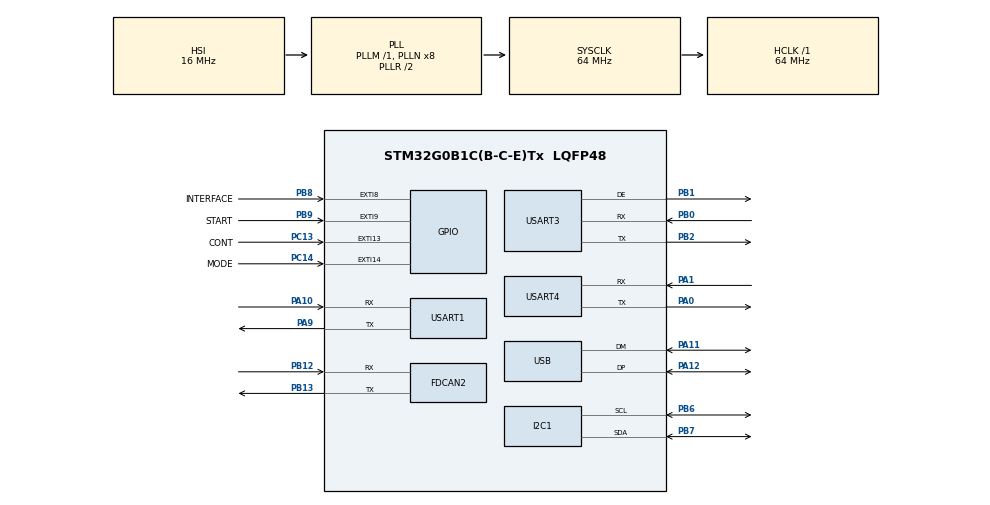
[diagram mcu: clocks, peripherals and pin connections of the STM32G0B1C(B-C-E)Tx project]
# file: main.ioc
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FDCAN2.CalculateBaudRateNominal=1333333
FDCAN2.CalculateTimeBitNominal=750
FDCAN2.CalculateTimeQuantumNominal=250.0
I2C1.Timing=0x10B17DB5
Mcu.Family=STM32G0
Mcu.Name=STM32G0B1C(B-C-E)Tx
Mcu.Package=LQFP48
NVIC.EXTI4_15_IRQn=true\:0\:0\:false\:false\:true\:true\:true\:true
NVIC.TIM16_FDCAN_IT0_IRQn=true\:0\:0\:false\:false\:true\:true\:true\:true
NVIC.TIM17_FDCAN_IT1_IRQn=true\:0\:0\:false\:false\:true\:true\:true\:true
NVIC.USART1_IRQn=true\:0\:0\:false\:false\:true\:true\:true\:true
NVIC.USART3_4_5_6_LPUART1_IRQn=true\:0\:0\:false\:false\:true\:true\:true\:true
PA0.Mode=Asynchronous
PA0.Signal=USART4_TX
PA1.Mode=Asynchronous
PA1.Signal=USART4_RX
PA10.Mode=Asynchronous
PA10.Signal=USART1_RX
PA11\ [PA9].Mode=Device
PA11\ [PA9].Signal=USB_DM
PA12\ [PA10].Mode=Device
PA12\ [PA10].Signal=USB_DP
PA9.Mode=Asynchronous
PA9.Signal=USART1_TX
PB0.Mode=Asynchronous
PB0.Signal=USART3_RX
PB1.Mode=Hardware Flow Control (RS485)
PB1.Signal=USART3_DE
PB12.Mode=FDCAN_Activate
PB12.Signal=FDCAN2_RX
PB13.Mode=FDCAN_Activate
PB13.Signal=FDCAN2_TX
PB2.Mode=Asynchronous
PB2.Signal=USART3_TX
PB6.Mode=I2C
PB6.Signal=I2C1_SCL
PB7.Mode=I2C
PB7.Signal=I2C1_SDA
PB8.GPIO_Label=INTERFACE
PB8.GPIO_ModeDefaultEXTI=GPIO_MODE_IT_RISING_FALLING
PB8.GPIO_PuPd=GPIO_PULLUP
PB8.Signal=GPXTI8
PB9.GPIO_Label=START
PB9.GPIO_ModeDefaultEXTI=GPIO_MODE_IT_RISING_FALLING
PB9.GPIO_PuPd=GPIO_PULLUP
PB9.Signal=GPXTI9
PC13.GPIO_Label=CONT
PC13.GPIO_ModeDefaultEXTI=GPIO_MODE_IT_RISING_FALLING
PC13.GPIO_PuPd=GPIO_PULLUP
PC13.Signal=GPXTI13
PC14-OSC32_IN\ (PC14).GPIO_Label=MODE
PC14-OSC32_IN\ (PC14).GPIO_ModeDefaultEXTI=GPIO_MODE_IT_RISING_FALLING
PC14-OSC32_IN\ (PC14).GPIO_PuPd=GPIO_PULLUP
PC14-OSC32_IN\ (PC14).Signal=GPXTI14
ProjectManager.HeapSize=0x200
ProjectManager.StackSize=0x400
ProjectManager.TargetToolchain=STM32CubeIDE
RCC.ADCFreq_Value=64000000
RCC.AHBFreq_Value=64000000
RCC.CortexFreq_Value=64000000
RCC.EXTERNAL_CLOCK_VALUE=48000
RCC.HCLKFreq_Value=64000000
RCC.HSE_VALUE=8000000
RCC.HSI48_VALUE=48000000
RCC.HSI_VALUE=16000000
RCC.LSE_VALUE=32768
RCC.SYSCLKFreq_VALUE=64000000
RCC.SYSCLKSource=RCC_SYSCLKSOURCE_PLLCLK
RCC.USBFreq_Value=48000000
RCC.VCOOutputFreq_Value=128000000
TIM6.Period=10000
TIM6.Prescaler=15999
USART1.VirtualMode-Asynchronous=VM_ASYNC
USART3.VirtualMode-Asynchronous=VM_ASYNC
USART3.VirtualMode-Hardware\ Flow\ Control\ (RS485)=VM_ASYNC
USART4.VirtualMode-Asynchronous=VM_ASYNC
VP_SYS_VS_DBSignals.Mode=DisableDeadBatterySignals
VP_TIM6_VS_ClockSourceINT.Mode=Enable_Timer
board=custom

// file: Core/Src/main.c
/* USER CODE BEGIN Header */
/**
  ******************************************************************************
  * @file           : main.c
  * @brief          : Main program body
  ******************************************************************************
  * @attention
  *
  * Copyright (c) 2026 STMicroelectronics.
  * All rights reserved.
  *
  * This software is licensed under terms that can be found in the LICENSE file
  * in the root directory of this software component.
  * If no LICENSE file comes with this software, it is provided AS-IS.
  *
  ******************************************************************************
  */
/* USER CODE END Header */
#include "main.h"
#include "fdcan.h"
#include "i2c.h"
#include "tim.h"
#include "usart.h"
#include "usb_drd_fs.h"
#include "gpio.h"

/* USER CODE BEGIN Includes */

#include <buttons.h>

/* USER CODE END Includes */

/* USER CODE BEGIN PD */

#define STANDARD_DATA 0x9A

/* USER CODE END PD */

void SystemClock_Config(void);
/* USER CODE BEGIN PFP */
unsigned int rand(unsigned int* seed);
HAL_StatusTypeDef transmit(uint8_t data);
HAL_StatusTypeDef receive(uint8_t* data);
int countSetBits(unsigned int num);
/* USER CODE END PFP */

int main(void)
{

  /* MCU Configuration--------------------------------------------------------*/

  /* Reset of all peripherals, Initializes the Flash interface and the Systick. */
  HAL_Init();

  /* Configure the system clock */
  SystemClock_Config();

  /* Initialize all configured peripherals */
  MX_GPIO_Init();
  MX_USART1_UART_Init();
  MX_USART3_UART_Init();
  MX_USART4_UART_Init();
  MX_FDCAN2_Init();
  MX_I2C1_Init();
  MX_USB_DRD_FS_PCD_Init();
  MX_TIM6_Init();

  /* Infinite loop */
  /* USER CODE BEGIN WHILE */

  unsigned int transmitSeed = 0;
  unsigned int receiveSeed = 0;

  unsigned int receiveErrors = 0;

  while (1)
  {
	  if (resetRNG) {
		  transmitSeed = 0;
		  receiveSeed = 0;
		  resetRNG = 0;
	  }

	  if ((role == TRANSMIT || role == RECEIVE_TRANSMIT) && running) {
		  uint8_t data = STANDARD_DATA;
		  if (sendMode == CONTINUOUS_SEND_MODE)
			  data = rand(&transmitSeed) % 256;
		  transmit(data);
	  }

	  if (role == RECEIVE || role == RECEIVE_TRANSMIT) {
		  uint8_t data = 0;
		  if (receive(&data) == HAL_OK) {
			  uint8_t expected = STANDARD_DATA;
			  if (sendMode == CONTINUOUS_SEND_MODE)
				  expected = rand(&receiveSeed) % 256;
			  receiveErrors += countSetBits(expected ^ data);
		  }
	  }

    /* USER CODE END WHILE */

  }
}

void SystemClock_Config(void)
{
  RCC_OscInitTypeDef RCC_OscInitStruct = {0};
  RCC_ClkInitTypeDef RCC_ClkInitStruct = {0};

  /** Configure the main internal regulator output voltage
  */
  HAL_PWREx_ControlVoltageScaling(PWR_REGULATOR_VOLTAGE_SCALE1);

  /** Initializes the RCC Oscillators according to the specified parameters
  * in the RCC_OscInitTypeDef structure.
  */
  RCC_OscInitStruct.OscillatorType = RCC_OSCILLATORTYPE_HSI|RCC_OSCILLATORTYPE_HSI48;
  RCC_OscInitStruct.HSIState = RCC_HSI_ON;
  RCC_OscInitStruct.HSI48State = RCC_HSI48_ON;
  RCC_OscInitStruct.HSIDiv = RCC_HSI_DIV1;
  RCC_OscInitStruct.HSICalibrationValue = RCC_HSICALIBRATION_DEFAULT;
  RCC_OscInitStruct.PLL.PLLState = RCC_PLL_ON;
  RCC_OscInitStruct.PLL.PLLSource = RCC_PLLSOURCE_HSI;
  RCC_OscInitStruct.PLL.PLLM = RCC_PLLM_DIV1;
  RCC_OscInitStruct.PLL.PLLN = 8;
  RCC_OscInitStruct.PLL.PLLP = RCC_PLLP_DIV2;
  RCC_OscInitStruct.PLL.PLLQ = RCC_PLLQ_DIV2;
  RCC_OscInitStruct.PLL.PLLR = RCC_PLLR_DIV2;
  if (HAL_RCC_OscConfig(&RCC_OscInitStruct) != HAL_OK)
  {
    Error_Handler();
  }

  /** Initializes the CPU, AHB and APB buses clocks
  */
  RCC_ClkInitStruct.ClockType = RCC_CLOCKTYPE_HCLK|RCC_CLOCKTYPE_SYSCLK
                              |RCC_CLOCKTYPE_PCLK1;
  RCC_ClkInitStruct.SYSCLKSource = RCC_SYSCLKSOURCE_PLLCLK;
  RCC_ClkInitStruct.AHBCLKDivider = RCC_SYSCLK_DIV1;
  RCC_ClkInitStruct.APB1CLKDivider = RCC_HCLK_DIV1;

  if (HAL_RCC_ClockConfig(&RCC_ClkInitStruct, FLASH_LATENCY_2) != HAL_OK)
  {
    Error_Handler();
  }
}

/* USER CODE BEGIN 4 */

unsigned int rand(unsigned int* seed) {
	*seed = *seed * 1103515243 + 12345;
    return (unsigned int)(*seed / 65536) % 32768;
}

HAL_StatusTypeDef transmit(uint8_t data) {
	switch (currInterface) {
	case UART_RS232_INTERFACE: return HAL_UART_Transmit(&huart4, &data, 1, 10); // UART4
	case UART_RS485_INTERFACE: return HAL_UART_Transmit(&huart3, &data, 1, 10);  // UART3
	case UART_3V3_INTERFACE: HAL_UART_Transmit(&huart1, &data, 1, 10); // UART1
	case CAN_INTERFACE: return ERROR;
	}
	return ERROR;
}

HAL_StatusTypeDef receive(uint8_t* data) {
	switch (currInterface) {
	case UART_RS232_INTERFACE: return HAL_UART_Receive(&huart4, data, 1, 10); // UART4
	case UART_RS485_INTERFACE: return HAL_UART_Receive(&huart3, data, 1, 10);  // UART3
	case UART_3V3_INTERFACE: return HAL_UART_Receive(&huart1, data, 1, 10); // UART1
	case CAN_INTERFACE: return ERROR;
	}
	return ERROR;
}

int countSetBits(unsigned int num)
{
    int count = 0;
    while (num) {
        num &= (num - 1); // Turn off the rightmost set bit
        count++;
    }
    return count;
}

/* USER CODE END 4 */

void Error_Handler(void)
{
  __disable_irq();
  while (1)
  {
  }
}
